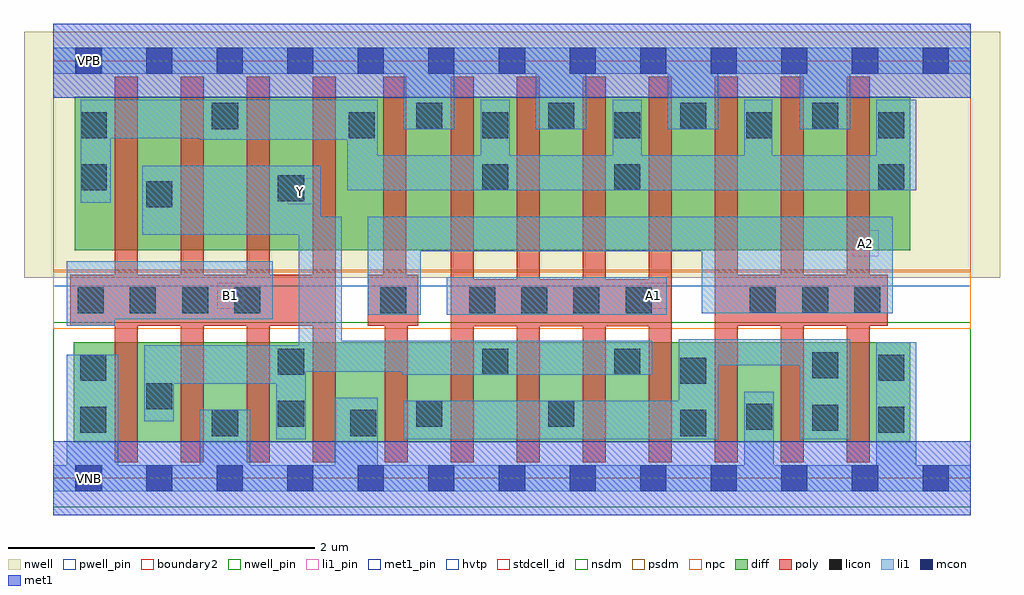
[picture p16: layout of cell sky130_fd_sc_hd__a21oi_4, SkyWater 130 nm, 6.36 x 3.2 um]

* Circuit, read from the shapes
.subckt sky130_fd_sc_hd__a21oi_4 A1 A2 B1 VGND VNB VPB VPWR Y
XM1 Y B1 VGND VNB sky130_fd_pr__nfet_01v8 w=0.65 l=0.15 m=4
XM2 n1 A2 VGND VNB sky130_fd_pr__nfet_01v8 w=0.65 l=0.15 m=4
XM3 Y A1 n1 VNB sky130_fd_pr__nfet_01v8 w=0.65 l=0.15 m=4
XM4 Y B1 n2 VPB sky130_fd_pr__pfet_01v8_hvt w=1 l=0.15 m=4
XM5 VPWR A2 n2 VPB sky130_fd_pr__pfet_01v8_hvt w=1 l=0.15 m=4
XM6 n2 A1 VPWR VPB sky130_fd_pr__pfet_01v8_hvt w=1 l=0.15 m=4
.ends

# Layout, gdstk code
import gdstk
lib = gdstk.Library(unit=1e-6, precision=1e-09)
def R(c, l, rs):  # rectangles x0, y0, x1, y1
    for r in rs: c.add(gdstk.rectangle(r[:2], r[2:], *l))
def A(c, l, x, y, w, h, nx, ny, dx, dy):  # array of equal rectangles
    R(c, l, [(x+i*dx, y+j*dy, x+i*dx+w, y+j*dy+h) for i in range(nx) for j in range(ny)])
def P(c, l, *ps):  # polygons
    for p in ps: c.add(gdstk.Polygon(p, *l))
nwell_pin = (64, 16)
nwell = (64, 20)
diff = (65, 20)
poly = (66, 20)
licon = (66, 44)
li1_pin = (67, 16)
li1 = (67, 20)
mcon = (67, 44)
met1_pin = (68, 16)
met1 = (68, 20)
hvtp = (78, 44)
stdcell_id = (81, 4)
nsdm = (93, 44)
psdm = (94, 20)
npc = (95, 20)
pwell_pin = (122, 16)
boundary2 = (236, 0)

sky130_fd_sc_hd__a21oi_4 = lib.new_cell('sky130_fd_sc_hd__a21oi_4')
R(sky130_fd_sc_hd__a21oi_4, nwell_pin, [(0.15,2.635,0.32,2.805)])
R(sky130_fd_sc_hd__a21oi_4, nwell, [(-0.19,1.305,6.17,2.91)])
R(sky130_fd_sc_hd__a21oi_4, diff, [(0.135,0.235,5.585,0.885), (0.14,1.485,5.585,2.485)])
P(sky130_fd_sc_hd__a21oi_4, poly, [(5.44,1.325),(5.32,1.325),(5.32,2.615),(5.17,2.615),(5.17,1.325),(4.89,1.325),(4.89,2.615),(4.74,2.615),(4.74,1.325),(4.46,1.325),(4.46,2.615),(4.31,2.615),(4.31,0.105),(4.46,0.105),(4.46,0.995),(4.74,0.995),(4.74,0.105),(4.89,0.105),(4.89,0.995),(5.17,0.995),(5.17,0.105),(5.32,0.105),(5.32,0.995),(5.44,0.995)],
  [(1.84,2.615),(1.69,2.615),(1.69,1.325),(1.41,1.325),(1.41,2.615),(1.26,2.615),(1.26,1.325),(0.98,1.325),(0.98,2.615),(0.83,2.615),(0.83,1.325),(0.55,1.325),(0.55,2.615),(0.4,2.615),(0.4,1.325),(0.11,1.325),(0.11,0.995),(0.4,0.995),(0.4,0.105),(0.55,0.105),(0.55,0.995),(0.83,0.995),(0.83,0.105),(0.98,0.105),(0.98,0.995),(1.26,0.995),(1.26,0.105),(1.41,0.105),(1.41,0.995),(1.69,0.995),(1.69,0.105),(1.84,0.105)],
  [(2.38,1.325),(2.3,1.325),(2.3,2.615),(2.15,2.615),(2.15,1.325),(2.05,1.325),(2.05,0.995),(2.16,0.995),(2.16,0.105),(2.31,0.105),(2.31,0.995),(2.38,0.995)],
  [(4.03,2.615),(3.88,2.615),(3.88,1.295),(3.6,1.295),(3.6,2.615),(3.45,2.615),(3.45,1.295),(3.17,1.295),(3.17,2.615),(3.02,2.615),(3.02,1.295),(2.74,1.295),(2.74,2.615),(2.59,2.615),(2.59,0.105),(2.74,0.105),(2.74,0.99),(3.02,0.99),(3.02,0.105),(3.17,0.105),(3.17,0.99),(3.45,0.99),(3.45,0.105),(3.6,0.105),(3.6,0.99),(3.88,0.99),(3.88,0.105),(4.03,0.105)])
A(sky130_fd_sc_hd__a21oi_4, licon, 0.16, 1.075, 0.17, 0.17, 4, 1, 0.34, 0)
A(sky130_fd_sc_hd__a21oi_4, licon, 2.71, 1.075, 0.17, 0.17, 4, 1, 0.34, 0)
A(sky130_fd_sc_hd__a21oi_4, licon, 4.54, 1.075, 0.17, 0.17, 3, 1, 0.34, 0)
A(sky130_fd_sc_hd__a21oi_4, licon, 2.795, 2.215, 0.17, 0.17, 4, 1, 0.86, 0)
A(sky130_fd_sc_hd__a21oi_4, licon, 2.365, 2.275, 0.17, 0.17, 4, 1, 0.86, 0)
R(sky130_fd_sc_hd__a21oi_4, licon, [(1.035,0.275,1.205,0.445), (1.935,0.275,2.105,0.445), (4.085,0.275,4.255,0.445), (0.175,0.295,0.345,0.465), (5.375,0.295,5.545,0.465), (4.945,0.31,5.115,0.48), (4.515,0.315,4.685,0.485), (1.465,0.335,1.635,0.505), (2.365,0.335,2.535,0.505), (3.225,0.335,3.395,0.505), (0.605,0.45,0.775,0.62), (4.085,0.615,4.255,0.785), (0.175,0.635,0.345,0.805), (5.375,0.635,5.545,0.805), (4.945,0.65,5.115,0.82), (1.465,0.675,1.635,0.845), (2.795,0.675,2.965,0.845), (3.655,0.675,3.825,0.845), (2.13,1.075,2.3,1.245), (0.605,1.765,0.775,1.935), (1.465,1.805,1.635,1.975), (0.18,1.875,0.35,2.045), (2.795,1.875,2.965,2.045), (3.655,1.875,3.825,2.045), (5.375,1.875,5.545,2.045), (0.18,2.215,0.35,2.385), (1.925,2.215,2.095,2.385), (1.035,2.275,1.205,2.445)])
R(sky130_fd_sc_hd__a21oi_4, li1_pin, [(1.07,1.105,1.24,1.275), (3.83,1.105,4,1.275), (5.21,1.445,5.38,1.615), (1.53,1.785,1.7,1.955)])
R(sky130_fd_sc_hd__a21oi_4, li1, [(2.565,1.065,4,1.31)])
P(sky130_fd_sc_hd__a21oi_4, li1, [(5.98,0.085),(5.625,0.085),(5.625,0.885),(5.365,0.885),(5.365,0.085),(4.695,0.085),(4.695,0.565),(4.505,0.565),(4.505,0.085),(2.115,0.085),(2.115,0.525),(1.835,0.525),(1.835,0.085),(1.285,0.085),(1.285,0.445),(0.955,0.445),(0.955,0.085),(0.425,0.085),(0.425,0.805),(0.09,0.805),(0.09,0.085),(0,0.085),(0,-0.085),(5.98,-0.085)],
  [(5.98,2.805),(0,2.805),(0,2.635),(2.285,2.635),(2.285,2.275),(2.615,2.275),(2.615,2.635),(3.145,2.635),(3.145,2.275),(3.475,2.275),(3.475,2.635),(4.005,2.635),(4.005,2.275),(4.335,2.275),(4.335,2.635),(4.865,2.635),(4.865,2.275),(5.195,2.275),(5.195,2.635),(5.98,2.635)],
  [(5.625,2.465),(5.365,2.465),(5.365,2.105),(4.685,2.105),(4.685,2.465),(4.505,2.465),(4.505,2.105),(3.835,2.105),(3.835,2.465),(3.645,2.465),(3.645,2.105),(2.975,2.105),(2.975,2.465),(2.785,2.465),(2.785,2.105),(2.115,2.105),(2.115,2.465),(0.18,2.465),(0.18,1.795),(0.375,1.795),(0.375,2.215),(0.955,2.215),(0.955,2.205),(1.915,2.205),(1.915,1.875),(5.625,1.875)],
  [(5.195,0.905),(4.075,0.905),(4.075,0.505),(2.285,0.505),(2.285,0.255),(4.335,0.255),(4.335,0.735),(4.865,0.735),(4.865,0.255),(5.195,0.255)],
  [(5.47,1.705),(2.05,1.705),(2.05,1.065),(2.395,1.065),(2.395,1.48),(4.225,1.48),(4.225,1.075),(5.47,1.075)],
  [(1.43,1.415),(0.09,1.415),(0.09,0.995),(0.4,0.995),(0.4,1.035),(1.43,1.035)],
  [(3.905,0.895),(1.88,0.895),(1.88,1.705),(1.745,1.705),(1.745,2.035),(0.58,2.035),(0.58,1.585),(1.6,1.585),(1.6,0.865),(0.595,0.865),(0.595,0.37),(0.785,0.37),(0.785,0.615),(1.455,0.615),(1.455,0.255),(1.645,0.255),(1.645,0.695),(2.275,0.695),(2.275,0.675),(3.905,0.675)])
A(sky130_fd_sc_hd__a21oi_4, mcon, 0.145, -0.085, 0.17, 0.17, 13, 2, 0.46, 2.72)
R(sky130_fd_sc_hd__a21oi_4, met1_pin, [(0.15,-0.085,0.32,0.085), (0.15,2.635,0.32,2.805)])
R(sky130_fd_sc_hd__a21oi_4, hvtp, [(0,1.25,5.98,2.72)])
R(sky130_fd_sc_hd__a21oi_4, stdcell_id, [(0,0,5.98,2.72)])
R(sky130_fd_sc_hd__a21oi_4, nsdm, [(0,-0.19,5.98,1.015)])
R(sky130_fd_sc_hd__a21oi_4, psdm, [(0,1.355,5.98,2.91)])
R(sky130_fd_sc_hd__a21oi_4, npc, [(0,0.975,5.98,1.345)])
R(sky130_fd_sc_hd__a21oi_4, pwell_pin, [(0.15,-0.085,0.32,0.085)])
R(sky130_fd_sc_hd__a21oi_4, boundary2, [(0,0,5.98,2.72)])
sky130_fd_sc_hd__a21oi_4.add(gdstk.FlexPath([(0,2.72),(5.98,2.72)], 0.48, ends="flush", simple_path=True, layer=68, datatype=20))  # met1
sky130_fd_sc_hd__a21oi_4.add(gdstk.FlexPath([(0,0),(5.98,0)], 0.48, ends="flush", simple_path=True, layer=68, datatype=20))  # met1
sky130_fd_sc_hd__a21oi_4.add(gdstk.Label('B1', (1.155,1.19), layer=67, texttype=5))
sky130_fd_sc_hd__a21oi_4.add(gdstk.Label('A2', (5.295,1.53), layer=67, texttype=5))
sky130_fd_sc_hd__a21oi_4.add(gdstk.Label('A1', (3.915,1.19), layer=67, texttype=5))
sky130_fd_sc_hd__a21oi_4.add(gdstk.Label('Y', (1.615,1.87), layer=67, texttype=5))
sky130_fd_sc_hd__a21oi_4.add(gdstk.Label('VNB', (0.235,0), layer=64, texttype=59))
sky130_fd_sc_hd__a21oi_4.add(gdstk.Label('VPB', (0.235,2.72), layer=64, texttype=5))
sky130_fd_sc_hd__a21oi_4.add(gdstk.Label('VGND', (0.235,0), layer=68, texttype=5))
sky130_fd_sc_hd__a21oi_4.add(gdstk.Label('VPWR', (0.235,2.72), layer=68, texttype=5))
sky130_fd_sc_hd__a21oi_4.add(gdstk.Label('a21oi_4', (0,0), layer=83, texttype=44))

lib.write_gds('sky130_fd_sc_hd__a21oi_4.gds')
